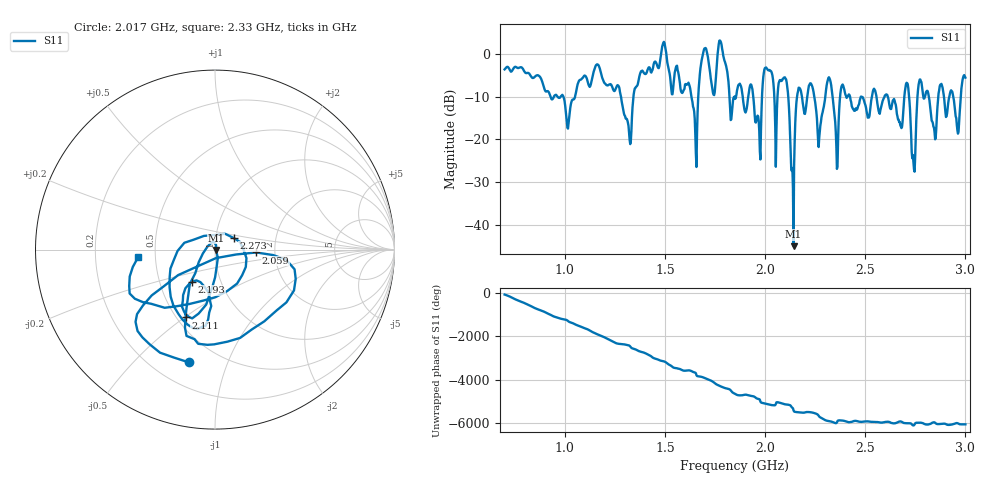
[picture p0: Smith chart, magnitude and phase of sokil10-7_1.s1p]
# HZ S RI R 50
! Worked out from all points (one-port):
!   808 points, 700 MHz to 3 GHz, reference 50 ohm
!   lowest |S11| = -45.1 dB at 2.142 GHz (marker M1), VSWR 1.01, Z = 50.5 - j0.168 ohm
!   |S11| at or under -10 dB: 993.6 MHz to 1.052 GHz (57.95 MHz wide, 5.67 % of centre); 1.281 GHz to 1.343 GHz (62.21 MHz wide, 4.74 % of centre); 2.613 GHz to 2.695 GHz (82.59 MHz wide, 3.11 % of centre)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
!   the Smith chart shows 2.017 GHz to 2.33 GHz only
!   S11 on the Smith chart (normalised r, x): 2.017 GHz: 0.34, -0.73; 2.059 GHz: 1.59, -0.05; 2.111 GHz: 0.55, -0.50; 2.193 GHz: 0.73, -0.27; 2.273 GHz: 1.22, +0.16; 2.33 GHz: 0.40, -0.04
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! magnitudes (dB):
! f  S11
! 700 MHz  -3.6
! 987.9 MHz  -9.6
! 1.276 GHz  -8.9
! 1.324 GHz  -20.2
! 1.381 GHz  -4.0
! 1.564 GHz  -3.8
! 1.652 GHz  -18.9
! 1.698 GHz  1.3
! 1.851 GHz  -10.5
! 1.968 GHz  -15.6
! 2.017 GHz  -3.8
! 2.059 GHz  -12.8
! 2.111 GHz  -7.7
! 2.139 GHz  -31.5
! 2.142 GHz  -45.1
! 2.165 GHz  -8.7
! 2.193 GHz  -13.1
! 2.273 GHz  -18.3
! 2.33 GHz  -7.3
! 2.356 GHz  -21.7
! 2.384 GHz  -7.3
! 2.427 GHz  -10.8
! 2.715 GHz  -8.0
! 2.741 GHz  -25.3
! 2.772 GHz  -6.0
! 2.843 GHz  -17.3
! 2.963 GHz  -18.7
! 3 GHz  -5.5
